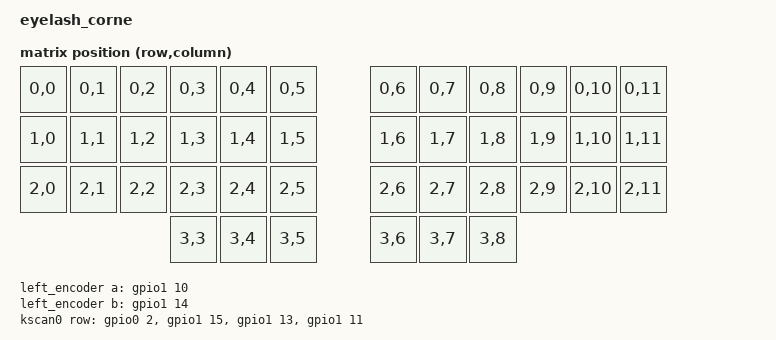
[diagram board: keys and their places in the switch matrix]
/*
*
* Copyright (c) 2024 The ZMK Contributors
* SPDX-License-Identifier: MIT
*
*/

/dts-v1/;
#include <nordic/nrf52840_qiaa.dtsi>
#include <dt-bindings/led/led.h>
#include <dt-bindings/zmk/matrix_transform.h>

#include "eyelash_corne-layouts.dtsi"

/ {
    model = "eyelash_corne";
    compatible = "eyelashperipherals,eyelash_corne";

    chosen {
        zephyr,code-partition = &code_partition;
        zephyr,sram = &sram0;
        zephyr,flash = &flash0;
        zmk,kscan = &kscan0;
        zmk,battery = &vbatt;
        zmk,underglow = &led_strip;
        zmk,physical-layout = &default_layout;
        zmk,backlight = &backlight;
    };

    vbatt: vbatt {
        compatible = "zmk,battery-nrf-vddh";
    };

    EXT_POWER {
        compatible = "zmk,ext-power-generic";
        control-gpios = <&gpio0 13 GPIO_ACTIVE_HIGH>;
        init-delay-ms = <50>;
    };

    left_encoder: encoder_left {
        compatible = "alps,ec11";
        a-gpios = <&gpio1 10 (GPIO_ACTIVE_HIGH | GPIO_PULL_UP)>;
        b-gpios = <&gpio1 14 (GPIO_ACTIVE_HIGH | GPIO_PULL_UP)>;
        steps = <24>;
        status = "disabled";
    };

    /* No rotary encoder on this hardware (plain Corne) -- sensors node removed;
     * the keymap's sensor-bindings (&inc_dec_kp ...) are dropped to match. */

    /*
     * Key matrix = zmk-config-rolio (sofle) EXACTLY. This hardware is a nice_nano_v2
     * wired Corne (rolio's), NOT the 5x7 eyelash board, so rolio's pins are the ones
     * the switches are physically connected to. rolio uses the pro_micro nexus; this
     * board has none, so the pins are translated pro_micro -> raw nRF (verified):
     *   rows 19/18/15/14 -> P0.02 / P1.15 / P1.13 / P1.11
     *   cols 20/8/7/6/5/4 -> P0.29 / P1.04 / P0.11 / P1.00 / P0.24 / P0.22
     * col-gpios are added per-half in eyelash_corne_{left,right}.dts (both halves use
     * the same 6 cols; the RIGHT overlay adds `&default_transform { col-offset = <6> }`
     * to shift its columns to 6..11, exactly like rolio's sofle_right.overlay).
     */
    kscan0: kscan {
        compatible = "zmk,kscan-gpio-matrix";
        wakeup-source;
        diode-direction = "col2row";
        row-gpios
            = <&gpio0 2  (GPIO_ACTIVE_HIGH | GPIO_PULL_DOWN)>   /* pro_micro 19 -> P0.02 */
            , <&gpio1 15 (GPIO_ACTIVE_HIGH | GPIO_PULL_DOWN)>   /* pro_micro 18 -> P1.15 */
            , <&gpio1 13 (GPIO_ACTIVE_HIGH | GPIO_PULL_DOWN)>   /* pro_micro 15 -> P1.13 */
            , <&gpio1 11 (GPIO_ACTIVE_HIGH | GPIO_PULL_DOWN)>   /* pro_micro 14 -> P1.11 */
            ;
    };

    default_transform: keymap_transform_0 {
        compatible = "zmk,matrix-transform";
        columns = <12>;
        rows = <4>;
        map = <
RC(0,0) RC(0,1) RC(0,2) RC(0,3) RC(0,4) RC(0,5)                    RC(0,6) RC(0,7) RC(0,8) RC(0,9) RC(0,10) RC(0,11)
RC(1,0) RC(1,1) RC(1,2) RC(1,3) RC(1,4) RC(1,5)                    RC(1,6) RC(1,7) RC(1,8) RC(1,9) RC(1,10) RC(1,11)
RC(2,0) RC(2,1) RC(2,2) RC(2,3) RC(2,4) RC(2,5)                    RC(2,6) RC(2,7) RC(2,8) RC(2,9) RC(2,10) RC(2,11)
                        RC(3,3) RC(3,4) RC(3,5)                    RC(3,6) RC(3,7) RC(3,8)
        >;
    };

    backlight: pwmleds {
        compatible = "pwm-leds";
        pwm_led_0 {
            pwms = <&pwm0 0 PWM_MSEC(1) PWM_POLARITY_NORMAL>;
        };
    };
};

&adc {
    status = "okay";
};

&gpiote {
    status = "okay";
};

&gpio0 {
    status = "okay";
};

&gpio1 {
    status = "okay";
};

zephyr_udc0: &usbd {
    status = "okay";
};

&flash0 {
    /*
     * For more information, see:
     * http://docs.zephyrproject.org/latest/devices/dts/flash_partitions.html
     */
    partitions {
        compatible = "fixed-partitions";
        #address-cells = <1>;
        #size-cells = <1>;

        sd_partition: partition@0 {
            reg = <0x00000000 0x00026000>;
        };

        code_partition: partition@26000 {
            reg = <0x00026000 0x000c6000>;
        };

        /*
         * The flash starting at 0x000ec000 and ending at
         * 0x000f3fff is reserved for use by the application.
         *
         * Storage partition will be used by FCB/LittleFS/NVS
         * if enabled.
         */
        storage_partition: partition@ec000 {
            reg = <0x000ec000 0x00008000>;
        };

        boot_partition: partition@f4000 {
            reg = <0x000f4000 0x0000c000>;
        };
    };
};

&pinctrl {
    spi0_default: spi0_default {
        group1 {
            psels = <NRF_PSEL(SPIM_SCK, 0, 20)>,
                <NRF_PSEL(SPIM_MOSI, 0, 17)>,
                <NRF_PSEL(SPIM_MISO, 0, 25)>;
        };
    };

    spi0_sleep: spi0_sleep {
        group1 {
            psels = <NRF_PSEL(SPIM_SCK, 0, 20)>,
                <NRF_PSEL(SPIM_MOSI, 0, 17)>,
                <NRF_PSEL(SPIM_MISO, 0, 25)>;
            low-power-enable;
        };
    };

    pwm0_default: pwm0_default {
        group1 {
            psels = <NRF_PSEL(PWM_OUT0, 1, 13)>;
        };
    };
    pwm0_sleep: pwm0_sleep {
        group1 {
            psels = <NRF_PSEL(PWM_OUT0, 1, 13)>;
            low-power-enable;
        };
    };

    spi3_default: spi3_default {
        group1 {
            psels = <NRF_PSEL(SPIM_MOSI, 1, 12)>; // WS2812_VEXT_DATA
        };
    };

    spi3_sleep: spi3_sleep {
        group1 {
            psels = <NRF_PSEL(SPIM_MOSI, 1, 12)>;
            low-power-enable;
        };
    };
};

nice_view_spi: &spi0 {
    compatible = "nordic,nrf-spim";
    pinctrl-0 = <&spi0_default>;
    pinctrl-1 = <&spi0_sleep>;
    pinctrl-names = "default", "sleep";
    cs-gpios = <&gpio0 6 GPIO_ACTIVE_HIGH>;
};

&pwm0 {
    status = "okay";
    pinctrl-0 = <&pwm0_default>;
    pinctrl-1 = <&pwm0_sleep>;
    pinctrl-names = "default", "sleep";
};

&spi3 {
    status = "okay";

    compatible = "nordic,nrf-spim";
    pinctrl-0 = <&spi3_default>;
    pinctrl-1 = <&spi3_sleep>;
    pinctrl-names = "default", "sleep";

    led_strip: ws2812@0 {
        compatible = "worldsemi,ws2812-spi";

        /* SPI */
        reg = <0>; /* ignored, but necessary for SPI bindings */
        spi-max-frequency = <4000000>;

        /* WS2812 */
        chain-length = <21>;
        spi-one-frame = <0x70>;
        spi-zero-frame = <0x40>;

        color-mapping = <LED_COLOR_ID_GREEN LED_COLOR_ID_RED LED_COLOR_ID_BLUE>;
    };
};

/*
 * Azoteq IQS5xx touchpad split plumbing (shared by both halves).
 *
 * The touchpad is wired to the RIGHT (peripheral) half. Its driver emits input
 * events there; `zmk,input-split` forwards them over the BLE split link to the
 * LEFT (central) half, where `tps43_listener` turns them into a HID mouse
 * report. The listener is enabled on the central only (see eyelash_corne_left.dts);
 * its input-processors (orientation transforms + auto-mouse layer) are attached
 * from config/base.keymap so we don't double-include <input/processors.dtsi>.
 */
/ {
    split_inputs {
        #address-cells = <1>;
        #size-cells = <0>;

        tps43_split: tps43_split@74 {
            compatible = "zmk,input-split";
            reg = <0x74>;
        };
    };

    tps43_listener: tps43_listener {
        compatible = "zmk,input-listener";
        status = "disabled";          /* enabled on the central only (left overlay) */
        device = <&tps43_split>;
    };
};
